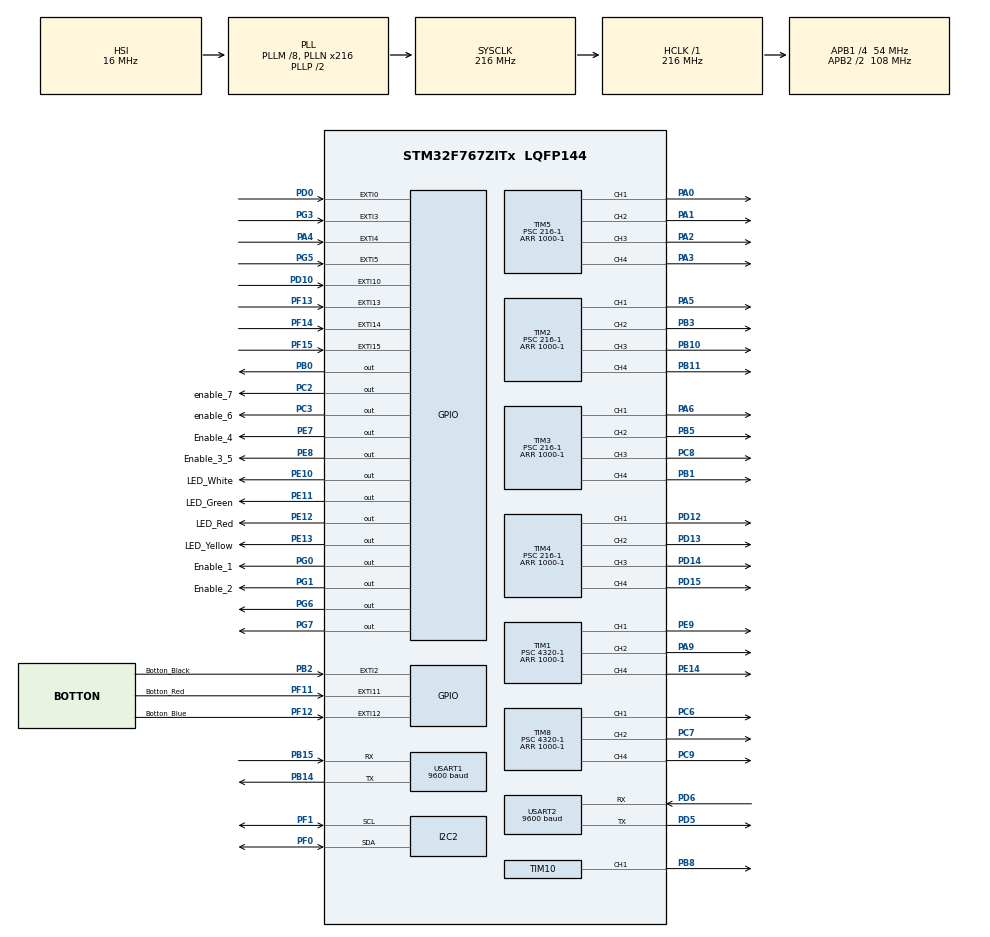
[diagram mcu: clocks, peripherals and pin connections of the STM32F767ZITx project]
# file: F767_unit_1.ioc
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Dma.Request0=USART1_RX
Dma.Request1=USART2_RX
Dma.USART1_RX.0.Direction=DMA_PERIPH_TO_MEMORY
Dma.USART1_RX.0.FIFOMode=DMA_FIFOMODE_DISABLE
Dma.USART1_RX.0.Instance=DMA2_Stream2
Dma.USART1_RX.0.MemDataAlignment=DMA_MDATAALIGN_BYTE
Dma.USART1_RX.0.MemInc=DMA_MINC_ENABLE
Dma.USART1_RX.0.Mode=DMA_CIRCULAR
Dma.USART1_RX.0.PeriphDataAlignment=DMA_PDATAALIGN_BYTE
Dma.USART1_RX.0.PeriphInc=DMA_PINC_DISABLE
Dma.USART1_RX.0.Priority=DMA_PRIORITY_HIGH
Dma.USART2_RX.1.Direction=DMA_PERIPH_TO_MEMORY
Dma.USART2_RX.1.FIFOMode=DMA_FIFOMODE_DISABLE
Dma.USART2_RX.1.Instance=DMA1_Stream5
Dma.USART2_RX.1.MemDataAlignment=DMA_MDATAALIGN_BYTE
Dma.USART2_RX.1.MemInc=DMA_MINC_ENABLE
Dma.USART2_RX.1.Mode=DMA_CIRCULAR
Dma.USART2_RX.1.PeriphDataAlignment=DMA_PDATAALIGN_BYTE
Dma.USART2_RX.1.PeriphInc=DMA_PINC_DISABLE
Dma.USART2_RX.1.Priority=DMA_PRIORITY_VERY_HIGH
I2C2.Timing=0x20404768
Mcu.Family=STM32F7
Mcu.Name=STM32F767ZITx
Mcu.Package=LQFP144
NVIC.DMA1_Stream5_IRQn=true\:0\:0\:false\:false\:true\:false\:true
NVIC.DMA2_Stream2_IRQn=true\:0\:0\:false\:false\:true\:false\:true
NVIC.EXTI0_IRQn=true\:0\:0\:false\:false\:true\:true\:true
NVIC.EXTI15_10_IRQn=true\:0\:0\:false\:false\:true\:true\:true
NVIC.EXTI2_IRQn=true\:0\:0\:false\:false\:true\:true\:true
NVIC.EXTI3_IRQn=true\:0\:0\:false\:false\:true\:true\:true
NVIC.EXTI4_IRQn=true\:0\:0\:false\:false\:true\:true\:true
NVIC.EXTI9_5_IRQn=true\:0\:0\:false\:false\:true\:true\:true
NVIC.PriorityGroup=NVIC_PRIORITYGROUP_4
NVIC.TIM6_DAC_IRQn=true\:0\:0\:true\:false\:true\:true\:true
NVIC.USART1_IRQn=true\:0\:0\:false\:false\:true\:true\:true
NVIC.USART2_IRQn=true\:0\:0\:false\:false\:true\:true\:true
PA0/WKUP.Signal=S_TIM5_CH1
PA1.Signal=S_TIM5_CH2
PA2.Signal=S_TIM5_CH3
PA3.Signal=S_TIM5_CH4
PA4.GPIO_ModeDefaultEXTI=GPIO_MODE_IT_RISING_FALLING
PA4.Signal=GPXTI4
PA5.Signal=S_TIM2_CH1_ETR
PA6.Signal=S_TIM3_CH1
PA9.Signal=S_TIM1_CH2
PB0.Signal=GPIO_Output
PB1.Signal=S_TIM3_CH4
PB10.Signal=S_TIM2_CH3
PB11.Signal=S_TIM2_CH4
PB14.Mode=Asynchronous
PB14.Signal=USART1_TX
PB15.Mode=Asynchronous
PB15.Signal=USART1_RX
PB2.GPIO_Label=Botton_Black
PB2.GPIO_ModeDefaultEXTI=GPIO_MODE_IT_RISING_FALLING
PB2.Signal=GPXTI2
PB3.Signal=S_TIM2_CH2
PB5.Signal=S_TIM3_CH2
PB8.Signal=S_TIM10_CH1
PC2.GPIO_Label=enable_7
PC2.Signal=GPIO_Output
PC3.GPIO_Label=enable_6
PC3.Signal=GPIO_Output
PC6.Signal=S_TIM8_CH1
PC7.Signal=S_TIM8_CH2
PC8.Signal=S_TIM3_CH3
PC9.Signal=S_TIM8_CH4
PD0.GPIO_ModeDefaultEXTI=GPIO_MODE_IT_RISING_FALLING
PD0.Signal=GPXTI0
PD10.GPIO_ModeDefaultEXTI=GPIO_MODE_IT_RISING_FALLING
PD10.Signal=GPXTI10
PD12.Signal=S_TIM4_CH1
PD13.Signal=S_TIM4_CH2
PD14.Signal=S_TIM4_CH3
PD15.Signal=S_TIM4_CH4
PD5.Mode=Asynchronous
PD5.Signal=USART2_TX
PD6.Mode=Asynchronous
PD6.Signal=USART2_RX
PE10.GPIO_Label=LED_White
PE10.Signal=GPIO_Output
PE11.GPIO_Label=LED_Green
PE11.Signal=GPIO_Output
PE12.GPIO_Label=LED_Red
PE12.Signal=GPIO_Output
PE13.GPIO_Label=LED_Yellow
PE13.Signal=GPIO_Output
PE14.Signal=S_TIM1_CH4
PE7.GPIO_Label=Enable_4
PE7.Signal=GPIO_Output
PE8.GPIO_Label=Enable_3_5
PE8.Signal=GPIO_Output
PE9.Signal=S_TIM1_CH1
PF0.Mode=I2C
PF0.Signal=I2C2_SDA
PF1.Mode=I2C
PF1.Signal=I2C2_SCL
PF11.GPIO_Label=Botton_Red
PF11.GPIO_ModeDefaultEXTI=GPIO_MODE_IT_RISING_FALLING
PF11.Signal=GPXTI11
PF12.GPIO_Label=Botton_Blue
PF12.GPIO_ModeDefaultEXTI=GPIO_MODE_IT_RISING_FALLING
PF12.Signal=GPXTI12
PF13.GPIO_ModeDefaultEXTI=GPIO_MODE_IT_RISING_FALLING
PF13.Signal=GPXTI13
PF14.GPIO_ModeDefaultEXTI=GPIO_MODE_IT_RISING_FALLING
PF14.Signal=GPXTI14
PF15.GPIO_ModeDefaultEXTI=GPIO_MODE_IT_RISING_FALLING
PF15.Signal=GPXTI15
PG0.GPIO_Label=Enable_1
PG0.Signal=GPIO_Output
PG1.GPIO_Label=Enable_2
PG1.Signal=GPIO_Output
PG3.GPIO_ModeDefaultEXTI=GPIO_MODE_IT_RISING_FALLING
PG3.Signal=GPXTI3
PG5.GPIO_ModeDefaultEXTI=GPIO_MODE_IT_RISING_FALLING
PG5.Signal=GPXTI5
PG6.Signal=GPIO_Output
PG7.Signal=GPIO_Output
ProjectManager.HeapSize=0x200
ProjectManager.StackSize=0x400
ProjectManager.TargetToolchain=STM32CubeIDE
RCC.AHBFreq_Value=216000000
RCC.APB1CLKDivider=RCC_HCLK_DIV4
RCC.APB1Freq_Value=54000000
RCC.APB1TimFreq_Value=108000000
RCC.APB2CLKDivider=RCC_HCLK_DIV2
RCC.APB2Freq_Value=108000000
RCC.APB2TimFreq_Value=216000000
RCC.CortexFreq_Value=216000000
RCC.HCLKFreq_Value=216000000
RCC.HSE_VALUE=25000000
RCC.HSI_VALUE=16000000
RCC.LSE_VALUE=32768
RCC.PLLM=8
RCC.PLLN=216
RCC.SYSCLKFreq_VALUE=216000000
RCC.SYSCLKSource=RCC_SYSCLKSOURCE_PLLCLK
RCC.USBFreq_Value=216000000
RCC.VCOOutputFreq_Value=432000000
SH.S_TIM10_CH1.0=TIM10_CH1,PWM Generation1 CH1
SH.S_TIM1_CH1.0=TIM1_CH1,PWM Generation1 CH1
SH.S_TIM1_CH2.0=TIM1_CH2,PWM Generation2 CH2
SH.S_TIM1_CH4.0=TIM1_CH4,PWM Generation4 CH4
SH.S_TIM2_CH1_ETR.0=TIM2_CH1,PWM Generation1 CH1
SH.S_TIM2_CH2.0=TIM2_CH2,PWM Generation2 CH2
SH.S_TIM2_CH3.0=TIM2_CH3,PWM Generation3 CH3
SH.S_TIM2_CH4.0=TIM2_CH4,PWM Generation4 CH4
SH.S_TIM3_CH1.0=TIM3_CH1,PWM Generation1 CH1
SH.S_TIM3_CH2.0=TIM3_CH2,PWM Generation2 CH2
SH.S_TIM3_CH3.0=TIM3_CH3,PWM Generation3 CH3
SH.S_TIM3_CH4.0=TIM3_CH4,PWM Generation4 CH4
SH.S_TIM4_CH1.0=TIM4_CH1,PWM Generation1 CH1
SH.S_TIM4_CH2.0=TIM4_CH2,PWM Generation2 CH2
SH.S_TIM4_CH3.0=TIM4_CH3,PWM Generation3 CH3
SH.S_TIM4_CH4.0=TIM4_CH4,PWM Generation4 CH4
SH.S_TIM5_CH1.0=TIM5_CH1,PWM Generation1 CH1
SH.S_TIM5_CH2.0=TIM5_CH2,PWM Generation2 CH2
SH.S_TIM5_CH3.0=TIM5_CH3,PWM Generation3 CH3
SH.S_TIM5_CH4.0=TIM5_CH4,PWM Generation4 CH4
SH.S_TIM8_CH1.0=TIM8_CH1,PWM Generation1 CH1
SH.S_TIM8_CH2.0=TIM8_CH2,PWM Generation2 CH2
SH.S_TIM8_CH4.0=TIM8_CH4,PWM Generation4 CH4
TIM1.Channel-PWM\ Generation1\ CH1=TIM_CHANNEL_1
TIM1.Channel-PWM\ Generation2\ CH2=TIM_CHANNEL_2
TIM1.Channel-PWM\ Generation4\ CH4=TIM_CHANNEL_4
TIM1.Period=1000-1
TIM1.Prescaler=4320-1
TIM10.Channel=TIM_CHANNEL_1
TIM10.Period=1000-1
TIM10.Prescaler=4320-1
TIM2.Channel-PWM\ Generation1\ CH1=TIM_CHANNEL_1
TIM2.Channel-PWM\ Generation2\ CH2=TIM_CHANNEL_2
TIM2.Channel-PWM\ Generation3\ CH3=TIM_CHANNEL_3
TIM2.Channel-PWM\ Generation4\ CH4=TIM_CHANNEL_4
TIM2.Period=1000-1
TIM2.Prescaler=216-1
TIM3.Channel-PWM\ Generation1\ CH1=TIM_CHANNEL_1
TIM3.Channel-PWM\ Generation2\ CH2=TIM_CHANNEL_2
TIM3.Channel-PWM\ Generation3\ CH3=TIM_CHANNEL_3
TIM3.Channel-PWM\ Generation4\ CH4=TIM_CHANNEL_4
TIM3.Period=1000-1
TIM3.Prescaler=216-1
TIM4.Channel-PWM\ Generation1\ CH1=TIM_CHANNEL_1
TIM4.Channel-PWM\ Generation2\ CH2=TIM_CHANNEL_2
TIM4.Channel-PWM\ Generation3\ CH3=TIM_CHANNEL_3
TIM4.Channel-PWM\ Generation4\ CH4=TIM_CHANNEL_4
TIM4.Period=1000-1
TIM4.Prescaler=216-1
TIM5.Channel-PWM\ Generation1\ CH1=TIM_CHANNEL_1
TIM5.Channel-PWM\ Generation2\ CH2=TIM_CHANNEL_2
TIM5.Channel-PWM\ Generation3\ CH3=TIM_CHANNEL_3
TIM5.Channel-PWM\ Generation4\ CH4=TIM_CHANNEL_4
TIM5.Period=1000-1
TIM5.Prescaler=216-1
TIM6.Period=50000-1
TIM6.Prescaler=10800-1
TIM8.Channel-PWM\ Generation1\ CH1=TIM_CHANNEL_1
TIM8.Channel-PWM\ Generation2\ CH2=TIM_CHANNEL_2
TIM8.Channel-PWM\ Generation4\ CH4=TIM_CHANNEL_4
TIM8.Period=1000-1
TIM8.Prescaler=4320-1
TIM9.Period=1000-1
TIM9.Prescaler=216-1
USART1.BaudRate=9600
USART1.VirtualMode-Asynchronous=VM_ASYNC
USART2.BaudRate=9600
USART2.OverSampling=UART_OVERSAMPLING_16
USART2.RxPinLevelInvertParam=ADVFEATURE_RXINV_ENABLE
USART2.TxPinLevelInvertParam=ADVFEATURE_TXINV_DISABLE
USART2.VirtualMode-Asynchronous=VM_ASYNC
VP_TIM10_VS_ClockSourceINT.Mode=Enable_Timer
VP_TIM1_VS_ClockSourceINT.Mode=Internal
VP_TIM2_VS_ClockSourceINT.Mode=Internal
VP_TIM3_VS_ClockSourceINT.Mode=Internal
VP_TIM4_VS_ClockSourceINT.Mode=Internal
VP_TIM5_VS_ClockSourceINT.Mode=Internal
VP_TIM6_VS_ClockSourceINT.Mode=Enable_Timer
VP_TIM8_VS_ClockSourceINT.Mode=Internal
VP_TIM9_VS_ClockSourceINT.Mode=Internal
board=custom

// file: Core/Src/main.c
/* USER CODE BEGIN Header */
/**
  ******************************************************************************
  * @file           : main.c
  * @brief          : Main program body
  ******************************************************************************
  * @attention
  *
  * <h2><center>&copy; Copyright (c) 2024 STMicroelectronics.
  * All rights reserved.</center></h2>
  *
  * This software component is licensed by ST under BSD 3-Clause license,
  * the "License"; You may not use this file except in compliance with the
  * License. You may obtain a copy of the License at:
  *                        opensource.org/licenses/BSD-3-Clause
  *
  ******************************************************************************
  */
/* USER CODE END Header */

#include "main.h"

/* USER CODE BEGIN Includes */
#include "SO1602A.h"
#include "stdbool.h"
#include "stdlib.h"
#include "stdio.h"
#include "mecanum.h"
#include "JY901.h"
/* USER CODE END Includes */

I2C_HandleTypeDef hi2c2;

TIM_HandleTypeDef htim1;
TIM_HandleTypeDef htim2;
TIM_HandleTypeDef htim3;
TIM_HandleTypeDef htim4;
TIM_HandleTypeDef htim5;
TIM_HandleTypeDef htim6;
TIM_HandleTypeDef htim8;
TIM_HandleTypeDef htim9;
TIM_HandleTypeDef htim10;

UART_HandleTypeDef huart1;
UART_HandleTypeDef huart2;
DMA_HandleTypeDef hdma_usart1_rx;
DMA_HandleTypeDef hdma_usart2_rx;

void SystemClock_Config(void);
static void MX_GPIO_Init(void);
static void MX_DMA_Init(void);
static void MX_I2C2_Init(void);
static void MX_TIM1_Init(void);
static void MX_TIM3_Init(void);
static void MX_TIM4_Init(void);
static void MX_TIM5_Init(void);
static void MX_TIM9_Init(void);
static void MX_TIM10_Init(void);
static void MX_USART1_UART_Init(void);
static void MX_TIM8_Init(void);
static void MX_USART2_UART_Init(void);
static void MX_TIM2_Init(void);
static void MX_TIM6_Init(void);

/* USER CODE BEGIN 0 */
bool status_1;
bool status_2;
bool status_3;
bool SW_1 = 0;
bool SW_2 = 0;
bool SW_3 = 0;
bool SW_4 = 0;
bool LS_1 = 0;
bool LS_2 = 0;
bool LS_3 = 0;
bool RST  = 0;

char str[10];
char str_1[6];
char str_2[2];
char str_3[2];
char str_4[2];
char str_5[2];
char str_6[2];
char str_7[2];

uint16_t speed = 400;
uint16_t test_speed = 0;
uint8_t B_dash = 1;
#define servo1_init 90
#define servo2_init 90
#define servo3_init 183
#define servo4_init 135
#define servo5_init 170			//camera arm undai
#define servo6_init 200			//camera arm sentan

uint16_t servo1_kakudo = servo1_init * 4;
uint16_t servo2_kakudo = servo2_init * 4;
uint16_t servo3_kakudo = servo3_init * 4;
uint16_t servo4_kakudo = servo4_init * 4;
uint16_t servo5_kakudo = servo5_init * 4;
uint16_t servo6_kakudo = servo6_init * 4;

#define Servo_low 25			// ds3218			0.5ms - 2.5ms  0.5 * 50[Hz]
#define Servo_high 125			//2.5 * 50[Hz]
#define servo_low 28			// futaba rs304 md
#define servo_high 124

int houi,houi_def;
#define houi_low	100			//syuturyoku hosei 0 ~ 100
#define houi_high	200
uint16_t seigyoR = 0;
uint16_t seigyoL = 0;
uint16_t houi_rot = 0;

void HAL_GPIO_EXTI_Callback(uint16_t GPIO_Pin){
	if(GPIO_Pin == GPIO_PIN_13){
		if(HAL_GPIO_ReadPin(GPIOF,GPIO_PIN_13) == 0){			//toggle left
			status_1 = 1;
		}else {
			status_1 = 0;
		}
	}else if(GPIO_Pin == GPIO_PIN_14){
		if(HAL_GPIO_ReadPin(GPIOF,GPIO_PIN_14) == 0){			//toggle center
			status_2 = 1;
		}else{
			status_2 = 0;
		}
	}else if(GPIO_Pin == GPIO_PIN_15){
		if(HAL_GPIO_ReadPin(GPIOF,GPIO_PIN_15) == 0){			//toggle right
			status_3 = 1;
		}else {
			status_3 = 0;
		}
	}else if(GPIO_Pin == GPIO_PIN_2){
		if(HAL_GPIO_ReadPin(GPIOB,GPIO_PIN_2) == 0){			//botton sita
			SW_2 = 0;
		}else {
			SW_2 = 1;
		}
	}else if(GPIO_Pin == GPIO_PIN_4){
		if(HAL_GPIO_ReadPin(GPIOA,GPIO_PIN_4) == 0){			//botton hidari
			SW_3 = 0;
		}else {
			SW_3 = 1;
		}
	}else if(GPIO_Pin == GPIO_PIN_11){
		if(HAL_GPIO_ReadPin(GPIOF,GPIO_PIN_11) == 0){			//botton ue
			SW_1 = 0;
		}else {
			SW_1 = 1;
		}
	}else if(GPIO_Pin == GPIO_PIN_12){
		if(HAL_GPIO_ReadPin(GPIOF,GPIO_PIN_12) == 0){			//botton migi
			SW_4 = 0;
		}else {
			SW_4 = 1;
		}
	}else if(GPIO_Pin == GPIO_PIN_3){
		if(HAL_GPIO_ReadPin(GPIOG,GPIO_PIN_3) == 0){
			LS_1 = 0;
		}else {
			LS_1 = 1;
		}
	}else if(GPIO_Pin == GPIO_PIN_5){
		if(HAL_GPIO_ReadPin(GPIOG,GPIO_PIN_5) == 0){
			LS_2 = 0;
		}else {
			LS_2 = 1;
		}
	}else if(GPIO_Pin == GPIO_PIN_10){
		if(HAL_GPIO_ReadPin(GPIOD,GPIO_PIN_10) == 0){
			LS_3 = 0;
		}else {
			LS_3 = 1;
		}
	}else if(GPIO_Pin == GPIO_PIN_0){
		if(HAL_GPIO_ReadPin(GPIOD,GPIO_PIN_0) == 0){
			RST = 0;
		}else {
			RST = 1;
		}
	}
}

void motor_5(uint16_t ina , uint16_t inb){
	__HAL_TIM_SET_COMPARE(&htim5,TIM_CHANNEL_1,ina);
	__HAL_TIM_SET_COMPARE(&htim5,TIM_CHANNEL_2,inb);
}
void motor_6(uint16_t ina , uint16_t inb){
	__HAL_TIM_SET_COMPARE(&htim5,TIM_CHANNEL_3,ina);
	__HAL_TIM_SET_COMPARE(&htim5,TIM_CHANNEL_4,inb);
}
void motor_7(uint16_t ina , uint16_t inb){
	__HAL_TIM_SET_COMPARE(&htim9,TIM_CHANNEL_1,ina);
	__HAL_TIM_SET_COMPARE(&htim9,TIM_CHANNEL_2,inb);
}

void motor_sol(uint16_t ina , uint16_t inb){
	__HAL_TIM_SET_COMPARE(&htim2,TIM_CHANNEL_1,ina);
	__HAL_TIM_SET_COMPARE(&htim2,TIM_CHANNEL_2,inb);
}
void motor_air(uint16_t ina , uint16_t inb){
	__HAL_TIM_SET_COMPARE(&htim2,TIM_CHANNEL_3,ina);
	__HAL_TIM_SET_COMPARE(&htim2,TIM_CHANNEL_4,inb);
}

long map(float x , float in_min , float in_max , float out_min , float out_max)
{
	  return (x - in_min) * (out_max - out_min) / (in_max - in_min) + out_min;
}

void servo_1(uint16_t pulse){			//arm kaiten
	int pulse_1 = map(pulse , 0 , 180 , Servo_low , Servo_high);
	__HAL_TIM_SET_COMPARE(&htim8,TIM_CHANNEL_1,pulse_1);
}
void servo_2(uint16_t pulse){			//right arm
	int pulse_1 = map(pulse , 0 , 270 , Servo_low , Servo_high);
	__HAL_TIM_SET_COMPARE(&htim8,TIM_CHANNEL_2,pulse_1);
}
void servo_3(uint16_t pulse){			//left arm
	int pulse_1 = map(pulse , 0 , 270 , Servo_low , Servo_high);
	__HAL_TIM_SET_COMPARE(&htim8,TIM_CHANNEL_4,pulse_1);
}
void servo_4(uint16_t pulse){			//camera arm sayu
	int pulse_1 = map(pulse , 0 , 270 , servo_low , servo_high);
	__HAL_TIM_SET_COMPARE(&htim10,TIM_CHANNEL_1,pulse_1);
}
void servo_5(uint16_t pulse){			//camera arm jouge
	int pulse_1 = map(pulse , 0 , 270 , servo_low , servo_high);
	__HAL_TIM_SET_COMPARE(&htim1,TIM_CHANNEL_2,pulse_1);
}
void servo_6(uint16_t pulse){			//camera arm on camera
	int pulse_1 = map(pulse , 0 , 270 , servo_low , servo_high);
	__HAL_TIM_SET_COMPARE(&htim1,TIM_CHANNEL_4,pulse_1);
}

void servo_init(){
	servo_1(servo1_init);
	servo_2(servo2_init);
	servo_3(servo3_init);
	servo_4(servo4_init);
	servo_5(servo5_init);
	servo_6(servo6_init);
}

/* USER CODE END 0 */

int main(void)
{

  /* MCU Configuration--------------------------------------------------------*/

  /* Reset of all peripherals, Initializes the Flash interface and the Systick. */
  HAL_Init();

  /* Configure the system clock */
  SystemClock_Config();

  /* Initialize all configured peripherals */
  MX_GPIO_Init();
  MX_DMA_Init();
  MX_I2C2_Init();
  MX_TIM1_Init();
  MX_TIM3_Init();
  MX_TIM4_Init();
  MX_TIM5_Init();
  MX_TIM9_Init();
  MX_TIM10_Init();
  MX_USART1_UART_Init();
  MX_TIM8_Init();
  MX_USART2_UART_Init();
  MX_TIM2_Init();
  MX_TIM6_Init();
  /* USER CODE BEGIN 2 */

  //HAL_UART_Receive_DMA(&huart1,(uint8_t *)rxbuf ,1);			//raspi uart

  HAL_UART_Receive_DMA(&huart2,(uint8_t *)rxbuf ,1);			//TPIP uart

  //HAL_TIM_PWM_Start(&htim1,TIM_CHANNEL_1);
  HAL_TIM_PWM_Start(&htim3,TIM_CHANNEL_1);		//dc leg
  HAL_TIM_PWM_Start(&htim3,TIM_CHANNEL_2);
  HAL_TIM_PWM_Start(&htim3,TIM_CHANNEL_3);
  HAL_TIM_PWM_Start(&htim3,TIM_CHANNEL_4);
  HAL_TIM_PWM_Start(&htim4,TIM_CHANNEL_1);
  HAL_TIM_PWM_Start(&htim4,TIM_CHANNEL_2);
  HAL_TIM_PWM_Start(&htim4,TIM_CHANNEL_3);
  HAL_TIM_PWM_Start(&htim4,TIM_CHANNEL_4);
  HAL_TIM_PWM_Start(&htim5,TIM_CHANNEL_1);		//dc arm
  HAL_TIM_PWM_Start(&htim5,TIM_CHANNEL_2);
  HAL_TIM_PWM_Start(&htim5,TIM_CHANNEL_3);
  HAL_TIM_PWM_Start(&htim5,TIM_CHANNEL_4);
  HAL_TIM_PWM_Start(&htim2,TIM_CHANNEL_1);		//dc leg
  HAL_TIM_PWM_Start(&htim2,TIM_CHANNEL_2);
  HAL_TIM_PWM_Start(&htim2,TIM_CHANNEL_3);
  HAL_TIM_PWM_Start(&htim2,TIM_CHANNEL_4);

  HAL_TIM_PWM_Start(&htim8,TIM_CHANNEL_1);		//servo
  HAL_TIM_PWM_Start(&htim8,TIM_CHANNEL_2);
  HAL_TIM_PWM_Start(&htim8,TIM_CHANNEL_4);
  HAL_TIM_PWM_Start(&htim10,TIM_CHANNEL_1);
  HAL_TIM_PWM_Start(&htim1,TIM_CHANNEL_1);
  HAL_TIM_PWM_Start(&htim1,TIM_CHANNEL_2);
  HAL_TIM_PWM_Start(&htim1,TIM_CHANNEL_4);

  HAL_TIM_Base_Start_IT(&htim6);

  oled_Init(&hi2c2);
  OLED_Init();
  set_cursor(1,0);
  Puts("status:");
  set_cursor(2,0);
  Puts("waiting TPIP");

  HAL_GPIO_WritePin(GPIOG,GPIO_PIN_0,SET);
  HAL_GPIO_WritePin(GPIOG,GPIO_PIN_1,SET);
  HAL_GPIO_WritePin(GPIOE,GPIO_PIN_7,SET);
  HAL_GPIO_WritePin(GPIOE,GPIO_PIN_8,SET);
  HAL_GPIO_WritePin(GPIOC,GPIO_PIN_2,SET);
  HAL_GPIO_WritePin(GPIOC,GPIO_PIN_3,SET);

  JY901_init(&hi2c2);
  JY901_calibration(3000,1);
  houi_def = JY901_def_set();		//set up

  servo_init();
  /*
  while(RST != 1 && SW_1 != 1){
	  RST 	= HAL_GPIO_ReadPin(GPIOD,GPIO_PIN_0);
	  SW_1 	= HAL_GPIO_ReadPin(GPIOF,GPIO_PIN_11);
	  HAL_Delay(10);
  }
  */

  /* USER CODE END 2 */

  /* Infinite loop */
  /* USER CODE BEGIN WHILE */
  while (1)
  {
	  sprintf(str_3,"%d",LS_1);
	  sprintf(str_2,"%d",LS_2);
	  sprintf(str_7,"%d",LS_3);
	  houi = JY901_yaw_get(houi_def);

	  sprintf(str_1,"%d",houi);
	  sprintf(str_4,"%d",seigyoR);
	  sprintf(str_5,"%d",seigyoL);

	  if((houi - houi_rot) > 5){			//sisei seigyo
		  seigyoR = map(houi , 5 , 180 , houi_low , houi_high);
		  seigyoL = 0;
	  }else if((houi - houi_rot) < -5 ){
		  seigyoR = 0;
		  seigyoL = map(houi , 355 , 180 , houi_low , houi_high);
	  }else if((houi - houi_rot) < 5 || -5 < (houi - houi_rot)){
		  seigyoR = 0;
		  seigyoL = 0;
	  }

	  if(status_1 == 1 || RST == 1){
		  //number = atoi(&rxbuf[1]);			//convert strings to number

		  OLED_Init();
		  set_cursor(1,0);
		  Puts("status:uart mode");
		  set_cursor(2,0);
		  Puts(&rxbuf[0]);
		  set_cursor(2,10);
		  Puts(str_2);			//limit switch1 debug
		  set_cursor(2,12);
		  Puts(str_3);			//limit switch2 debug
		  set_cursor(2,14);
		  Puts(str_7);			//limit switch3 debug

		  if(rxbuf[0] < 95){	//B_dash setting
			  B_dash = 2;
		  }else{
			  B_dash = 1;
		  }
/*
		  if(RST == 0){
			  HAL_NVIC_SystemReset();		//stm32 reset when communication cut off
		  }
*/

		  if(rxbuf[0] == 'k'){
			  mecanum(0,0,0,0);
			  motor_5(0,0);
			  motor_6(0,0);
			  motor_7(0,0);

		  }else if(rxbuf[0] == 'c' || rxbuf[0] == 'C'){
			  mecanum(1,speed * B_dash,seigyoR,seigyoL);		//forward

		  }else if(rxbuf[0] == 'g' || rxbuf[0] == 'G'){
			  mecanum(2,speed * B_dash,seigyoR,seigyoL);		//back

		  }else if(rxbuf[0] == 'i' ){
			  mecanum(9,speed * B_dash,0,0);			//turn right
			  houi = JY901_yaw_get(houi_def);
			  houi_rot = houi + 10;

		  }else if(rxbuf[0] == 'j' ){
			  mecanum(10,speed * B_dash,0,0);			//turn left
			  houi = JY901_yaw_get(houi_def);
			  houi_rot = houi - 10;

		  }else if(rxbuf[0] == 'a' || rxbuf[0] == 'A'){
			  mecanum(3,speed * B_dash,0,0);		//shift to the right

		  }else if(rxbuf[0] == 'e' || rxbuf[0] == 'E'){
			  mecanum(4,speed * B_dash,0,0);		//shift to the left

		  }else if(rxbuf[0] == 'b' || rxbuf[0] == 'B'){
			  mecanum(5,speed * B_dash,0,0);		//go diagonally to the right

		  }else if(rxbuf[0] == 'f' || rxbuf[0] == 'F'){
			  mecanum(8,speed * B_dash,0,0);		//go diagonally backward to the left

		  }else if(rxbuf[0] == 'd' || rxbuf[0] == 'D'){
			  mecanum(6,speed * B_dash,0,0);		//go diagonally to the left

		  }else if(rxbuf[0] == 'h' || rxbuf[0] == 'H'){
			  mecanum(7,speed * B_dash,0,0);			// go diagonally backward to the right

		  }else if(rxbuf[0] == 'm'){
			  motor_5(800,0);		// arm dasu
		  }else if(rxbuf[0] == 'l'){
			  motor_5(0,500);		//arm simau

			  if(LS_1 == 1){
				  motor_5(0,0);		//arm stop by limit switch
			  }
		  }else if(rxbuf[0] == 'n'){
			  motor_6(500,0);		// arm down

			  if(LS_3){
				  motor_6(0,0);
			  }

		  }else if(rxbuf[0] == 'o'){
			  motor_6(0,500);		//arm up

			  if(LS_2 == 1){
				  motor_6(0,0);		//arm stop by limit switch
			  }
		  }else if(rxbuf[0] == 'p'){
			  for(;servo2_kakudo < 360 ; servo2_kakudo++){
			  	  servo_2(servo2_kakudo / 4);
			  	  HAL_Delay(5);
			  	  if(rxbuf[0] == 'k'){
			  		  break;
			  	  }
			  }
		  }else if(rxbuf[0] == 'q'){
			  for(;servo2_kakudo > 0 ; servo2_kakudo--){
				  servo_2(servo2_kakudo / 4);
				  HAL_Delay(5);
				  if(rxbuf[0] == 'k'){
					  break;
				  }
			  }
		  }else if(rxbuf[0] == 'r'){
			  for(;servo3_kakudo < 1080 ; servo3_kakudo++){
				  servo_3(servo3_kakudo/4);
				  HAL_Delay(5);
				  if(rxbuf[0] == 'k'){
					  break;
				  }
			  }
		  }else if(rxbuf[0] == 's'){
			  for(;servo3_kakudo > 720 ; servo3_kakudo--){
				  servo_3(servo3_kakudo / 4);
				  HAL_Delay(5);
				  if(rxbuf[0] == 'k'){
					  break;
				  }
			  }
		  }else if(rxbuf[0] == 't'){
			  for(;servo1_kakudo < 720 ; servo1_kakudo++){
				  servo_1(servo1_kakudo / 4);
				  HAL_Delay(5);
				  if(rxbuf[0] == 'k'){
					  break;
				  }
			  }
		  }else if(rxbuf[0] == 'u'){
			  for(;servo1_kakudo > 0 ; servo1_kakudo--){
				  servo_1(servo1_kakudo / 4);
				  HAL_Delay(5);
				  if(rxbuf[0] == 'k'){
					  break;
				  }
			  }
		  }else if(rxbuf[0] == 'v'){
			  servo_init();
			  servo1_kakudo = servo1_init * 4;
			  servo2_kakudo = servo2_init * 4;
			  servo3_kakudo = servo3_init * 4;

		  }else if(rxbuf[0] == 'w'){
			  for(;servo2_kakudo < 360 ; servo2_kakudo++){
				  servo_2(servo2_kakudo / 4);
				  servo_3((int)map(servo2_kakudo , 0 , 360 , 1080 , 720) / 4);
				  HAL_Delay(5);
				  if(rxbuf[0] == 'k'){
					  break;
				  }
			  }
		  }else if(rxbuf[0] == 'x'){
			  for(;servo2_kakudo > 0 ; servo2_kakudo--){
				  servo_2(servo2_kakudo / 4);
				  servo_3((int)map(servo2_kakudo , 0 , 360 , 1080 , 720) / 4);
				  HAL_Delay(5);
				  if(rxbuf[0] == 'k'){
					  break;
				  }
			  }
		  }else if(rxbuf[0] == '1'){
			  motor_sol(800,0);
		  }else if(rxbuf[0] == '2'){
			  motor_sol(0,0);
		  }else if(rxbuf[0] == '3'){
			  motor_air(800,0);
		  }else if(rxbuf[0] == '4'){
			  motor_air(0,0);
		  }else if(rxbuf[0] == 'y'){		//camera arm down
			  for(;servo5_kakudo > 0 ; servo5_kakudo--){
				  servo_5(servo5_kakudo / 4);
				  servo_6((int)map(servo5_kakudo , 0 , 680 , 180 , 800) / 4);
				  HAL_Delay(5);
				  if(rxbuf[0] == 'k'){
					  break;
				  }
			  }
		  }else if(rxbuf[0] == 'z'){		//camera arm up
			  for(;servo5_kakudo < 680 ; servo5_kakudo++){
				  servo_5(servo5_kakudo / 4);
				  servo_6((int)map(servo5_kakudo , 0 , 680 , 180 , 800) / 4);
				  HAL_Delay(5);
				  if(rxbuf[0] == 'k'){
					  break;
				  }
			  }
		  }else if(rxbuf[0] == 'L'){		//camera arm up
			  for(;servo6_kakudo > 180 ; servo6_kakudo--){
				  servo_6(servo6_kakudo / 4);
				  HAL_Delay(5);
				  if(rxbuf[0] == 'k'){
					  break;
				  }
			  }
		  }else if(rxbuf[0] == 'M'){		//camera arm up
			  for(;servo6_kakudo < 800 ; servo6_kakudo++){
				  servo_6(servo6_kakudo / 4);
				  HAL_Delay(5);
				  if(rxbuf[0] == 'k'){
					  break;
				  }
			  }
		  }
	  }else if(status_2 == 1){
		  sprintf(str,"%d",test_speed);

		  OLED_Init();
		  set_cursor(1,0);
		  Puts("setting speed");
		  set_cursor(2,0);
		  Puts("speed = ");
		  set_cursor(2,10);
		  Puts(str);
		  HAL_GPIO_WritePin(GPIOE,GPIO_PIN_11,SET);

		  if(SW_1 == 1){
			  test_speed += 50;
		  }else if(SW_2 == 1){
			  test_speed -= 50;
		  }else if(SW_3){
			  motor_air(800,0);

		  }else if(SW_4){
			  motor_sol(800,0);
		  }else{
			  motor_air(0,0);
			  motor_sol(0,0);
		  }

	  }else if(status_3 == 1){

		  sprintf(str_6,"%d",houi_rot);
		  OLED_Init();
		  set_cursor(1,0);
		  Puts("status:arm_test");
		  set_cursor(2,0);
		  Puts("yaw:");
		  set_cursor(2,7);
		  Puts(str_1);				//yaw
		  set_cursor(2,11);
		  Puts(str_6);				//yaw_rotation
		  //HAL_GPIO_WritePin(GPIOE,GPIO_PIN_12,SET);

		  if(SW_1 == 1){
			  motor_6(test_speed , 0);
		  }else if(SW_2 == 1){
			  motor_6(0 , test_speed);
		  }else if(SW_3 == 1){
			  motor_5(test_speed , 0);
		  }else if(SW_4 == 1){
			  motor_5(0 , test_speed);
		  }

	  }else if(SW_1){
		  OLED_Init();
		  set_cursor(1,0);
		  Puts("test mode");
		  set_cursor(2,0);			//seigyoL debug
		  Puts(str_5);
		  set_cursor(2,4);			//seigyoR debug
		  Puts(str_4);
		  set_cursor(2,12);
		  Puts(str_1);

		  mecanum(1,test_speed,seigyoR,seigyoL);

	  }else if(SW_2){
		  OLED_Init();
		  set_cursor(1,0);
		  Puts("test mode");
		  set_cursor(2,0);			//seigyoL debug
		  Puts(str_5);
		  set_cursor(2,4);			//seigyoR debug
		  Puts(str_4);
		  set_cursor(2,12);
		  Puts(str_1);

		  mecanum(2,test_speed,seigyoR,seigyoL);

	  }else if(SW_3 == 1){
		  OLED_Init();
		  set_cursor(1,0);
		  Puts("test mode");
		  set_cursor(2,0);			//seigyoL debug
		  Puts(str_5);
		  set_cursor(2,4);			//seigyoR debug
		  Puts(str_4);
		  set_cursor(2,12);
		  Puts(str_1);

		  mecanum(9,test_speed,0,0);
		  houi = JY901_yaw_get(houi_def);
		  houi_rot = houi + 10;

	  }else if(SW_4 == 1){
		  OLED_Init();
		  set_cursor(1,0);
		  Puts("test mode");
		  set_cursor(2,0);			//seigyoL debug
		  Puts(str_5);
		  set_cursor(2,4);			//seigyoR debug
		  Puts(str_4);
		  set_cursor(2,12);
		  Puts(str_1);

		  mecanum(10,test_speed,0,0);
		  houi = JY901_yaw_get(houi_def);
		  houi_rot = houi - 10;

	  }else if(status_1 + status_2 + status_3 == 0){
		  OLED_Init();
		  set_cursor(1,0);
		  Puts("status: free ");
		  set_cursor(2,0);
		  Puts("^o^)/ waiting...");
		  HAL_GPIO_WritePin(GPIOE,GPIO_PIN_10|GPIO_PIN_11|GPIO_PIN_12,RESET);

		  mecanum(0,0,0,0);
		  motor_5(0,0);
		  motor_6(0,0);
		  motor_7(0,0);
		  motor_air(0,0);
		  motor_sol(0,0);

	  }

	  HAL_Delay(5);

    /* USER CODE END WHILE */

  }
}

void SystemClock_Config(void)
{
  RCC_OscInitTypeDef RCC_OscInitStruct = {0};
  RCC_ClkInitTypeDef RCC_ClkInitStruct = {0};
  RCC_PeriphCLKInitTypeDef PeriphClkInitStruct = {0};

  /** Configure the main internal regulator output voltage
  */
  __HAL_RCC_PWR_CLK_ENABLE();
  __HAL_PWR_VOLTAGESCALING_CONFIG(PWR_REGULATOR_VOLTAGE_SCALE1);
  /** Initializes the CPU, AHB and APB busses clocks
  */
  RCC_OscInitStruct.OscillatorType = RCC_OSCILLATORTYPE_HSI;
  RCC_OscInitStruct.HSIState = RCC_HSI_ON;
  RCC_OscInitStruct.HSICalibrationValue = RCC_HSICALIBRATION_DEFAULT;
  RCC_OscInitStruct.PLL.PLLState = RCC_PLL_ON;
  RCC_OscInitStruct.PLL.PLLSource = RCC_PLLSOURCE_HSI;
  RCC_OscInitStruct.PLL.PLLM = 8;
  RCC_OscInitStruct.PLL.PLLN = 216;
  RCC_OscInitStruct.PLL.PLLP = RCC_PLLP_DIV2;
  RCC_OscInitStruct.PLL.PLLQ = 2;
  if (HAL_RCC_OscConfig(&RCC_OscInitStruct) != HAL_OK)
  {
    Error_Handler();
  }
  /** Activate the Over-Drive mode
  */
  if (HAL_PWREx_EnableOverDrive() != HAL_OK)
  {
    Error_Handler();
  }
  /** Initializes the CPU, AHB and APB busses clocks
  */
  RCC_ClkInitStruct.ClockType = RCC_CLOCKTYPE_HCLK|RCC_CLOCKTYPE_SYSCLK
                              |RCC_CLOCKTYPE_PCLK1|RCC_CLOCKTYPE_PCLK2;
  RCC_ClkInitStruct.SYSCLKSource = RCC_SYSCLKSOURCE_PLLCLK;
  RCC_ClkInitStruct.AHBCLKDivider = RCC_SYSCLK_DIV1;
  RCC_ClkInitStruct.APB1CLKDivider = RCC_HCLK_DIV4;
  RCC_ClkInitStruct.APB2CLKDivider = RCC_HCLK_DIV2;

  if (HAL_RCC_ClockConfig(&RCC_ClkInitStruct, FLASH_LATENCY_7) != HAL_OK)
  {
    Error_Handler();
  }
  PeriphClkInitStruct.PeriphClockSelection = RCC_PERIPHCLK_USART1|RCC_PERIPHCLK_USART2
                              |RCC_PERIPHCLK_I2C2;
  PeriphClkInitStruct.Usart1ClockSelection = RCC_USART1CLKSOURCE_PCLK2;
  PeriphClkInitStruct.Usart2ClockSelection = RCC_USART2CLKSOURCE_PCLK1;
  PeriphClkInitStruct.I2c2ClockSelection = RCC_I2C2CLKSOURCE_PCLK1;
  if (HAL_RCCEx_PeriphCLKConfig(&PeriphClkInitStruct) != HAL_OK)
  {
    Error_Handler();
  }
}

static void MX_I2C2_Init(void)
{

  hi2c2.Instance = I2C2;
  hi2c2.Init.Timing = 0x20404768;
  hi2c2.Init.OwnAddress1 = 0;
  hi2c2.Init.AddressingMode = I2C_ADDRESSINGMODE_7BIT;
  hi2c2.Init.DualAddressMode = I2C_DUALADDRESS_DISABLE;
  hi2c2.Init.OwnAddress2 = 0;
  hi2c2.Init.OwnAddress2Masks = I2C_OA2_NOMASK;
  hi2c2.Init.GeneralCallMode = I2C_GENERALCALL_DISABLE;
  hi2c2.Init.NoStretchMode = I2C_NOSTRETCH_DISABLE;
  if (HAL_I2C_Init(&hi2c2) != HAL_OK)
  {
    Error_Handler();
  }
  /** Configure Analogue filter
  */
  if (HAL_I2CEx_ConfigAnalogFilter(&hi2c2, I2C_ANALOGFILTER_ENABLE) != HAL_OK)
  {
    Error_Handler();
  }
  /** Configure Digital filter
  */
  if (HAL_I2CEx_ConfigDigitalFilter(&hi2c2, 0) != HAL_OK)
  {
    Error_Handler();
  }

}

static void MX_TIM1_Init(void)
{

  TIM_ClockConfigTypeDef sClockSourceConfig = {0};
  TIM_MasterConfigTypeDef sMasterConfig = {0};
  TIM_OC_InitTypeDef sConfigOC = {0};
  TIM_BreakDeadTimeConfigTypeDef sBreakDeadTimeConfig = {0};

  htim1.Instance = TIM1;
  htim1.Init.Prescaler = 4320-1;
  htim1.Init.CounterMode = TIM_COUNTERMODE_UP;
  htim1.Init.Period = 1000-1;
  htim1.Init.ClockDivision = TIM_CLOCKDIVISION_DIV1;
  htim1.Init.RepetitionCounter = 0;
  htim1.Init.AutoReloadPreload = TIM_AUTORELOAD_PRELOAD_DISABLE;
  if (HAL_TIM_Base_Init(&htim1) != HAL_OK)
  {
    Error_Handler();
  }
  sClockSourceConfig.ClockSource = TIM_CLOCKSOURCE_INTERNAL;
  if (HAL_TIM_ConfigClockSource(&htim1, &sClockSourceConfig) != HAL_OK)
  {
    Error_Handler();
  }
  if (HAL_TIM_PWM_Init(&htim1) != HAL_OK)
  {
    Error_Handler();
  }
  sMasterConfig.MasterOutputTrigger = TIM_TRGO_RESET;
  sMasterConfig.MasterOutputTrigger2 = TIM_TRGO2_RESET;
  sMasterConfig.MasterSlaveMode = TIM_MASTERSLAVEMODE_DISABLE;
  if (HAL_TIMEx_MasterConfigSynchronization(&htim1, &sMasterConfig) != HAL_OK)
  {
    Error_Handler();
  }
  sConfigOC.OCMode = TIM_OCMODE_PWM1;
  sConfigOC.Pulse = 0;
  sConfigOC.OCPolarity = TIM_OCPOLARITY_HIGH;
  sConfigOC.OCNPolarity = TIM_OCNPOLARITY_HIGH;
  sConfigOC.OCFastMode = TIM_OCFAST_DISABLE;
  sConfigOC.OCIdleState = TIM_OCIDLESTATE_RESET;
  sConfigOC.OCNIdleState = TIM_OCNIDLESTATE_RESET;
  if (HAL_TIM_PWM_ConfigChannel(&htim1, &sConfigOC, TIM_CHANNEL_1) != HAL_OK)
  {
    Error_Handler();
  }
  if (HAL_TIM_PWM_ConfigChannel(&htim1, &sConfigOC, TIM_CHANNEL_2) != HAL_OK)
  {
    Error_Handler();
  }
  if (HAL_TIM_PWM_ConfigChannel(&htim1, &sConfigOC, TIM_CHANNEL_4) != HAL_OK)
  {
    Error_Handler();
  }
  sBreakDeadTimeConfig.OffStateRunMode = TIM_OSSR_DISABLE;
  sBreakDeadTimeConfig.OffStateIDLEMode = TIM_OSSI_DISABLE;
  sBreakDeadTimeConfig.LockLevel = TIM_LOCKLEVEL_OFF;
  sBreakDeadTimeConfig.DeadTime = 0;
  sBreakDeadTimeConfig.BreakState = TIM_BREAK_DISABLE;
  sBreakDeadTimeConfig.BreakPolarity = TIM_BREAKPOLARITY_HIGH;
  sBreakDeadTimeConfig.BreakFilter = 0;
  sBreakDeadTimeConfig.Break2State = TIM_BREAK2_DISABLE;
  sBreakDeadTimeConfig.Break2Polarity = TIM_BREAK2POLARITY_HIGH;
  sBreakDeadTimeConfig.Break2Filter = 0;
  sBreakDeadTimeConfig.AutomaticOutput = TIM_AUTOMATICOUTPUT_DISABLE;
  if (HAL_TIMEx_ConfigBreakDeadTime(&htim1, &sBreakDeadTimeConfig) != HAL_OK)
  {
    Error_Handler();
  }
  HAL_TIM_MspPostInit(&htim1);

}

static void MX_TIM2_Init(void)
{

  TIM_ClockConfigTypeDef sClockSourceConfig = {0};
  TIM_MasterConfigTypeDef sMasterConfig = {0};
  TIM_OC_InitTypeDef sConfigOC = {0};

  htim2.Instance = TIM2;
  htim2.Init.Prescaler = 216-1;
  htim2.Init.CounterMode = TIM_COUNTERMODE_UP;
  htim2.Init.Period = 1000-1;
  htim2.Init.ClockDivision = TIM_CLOCKDIVISION_DIV1;
  htim2.Init.AutoReloadPreload = TIM_AUTORELOAD_PRELOAD_DISABLE;
  if (HAL_TIM_Base_Init(&htim2) != HAL_OK)
  {
    Error_Handler();
  }
  sClockSourceConfig.ClockSource = TIM_CLOCKSOURCE_INTERNAL;
  if (HAL_TIM_ConfigClockSource(&htim2, &sClockSourceConfig) != HAL_OK)
  {
    Error_Handler();
  }
  if (HAL_TIM_PWM_Init(&htim2) != HAL_OK)
  {
    Error_Handler();
  }
  sMasterConfig.MasterOutputTrigger = TIM_TRGO_RESET;
  sMasterConfig.MasterSlaveMode = TIM_MASTERSLAVEMODE_DISABLE;
  if (HAL_TIMEx_MasterConfigSynchronization(&htim2, &sMasterConfig) != HAL_OK)
  {
    Error_Handler();
  }
  sConfigOC.OCMode = TIM_OCMODE_PWM1;
  sConfigOC.Pulse = 0;
  sConfigOC.OCPolarity = TIM_OCPOLARITY_HIGH;
  sConfigOC.OCFastMode = TIM_OCFAST_DISABLE;
  if (HAL_TIM_PWM_ConfigChannel(&htim2, &sConfigOC, TIM_CHANNEL_1) != HAL_OK)
  {
    Error_Handler();
  }
  if (HAL_TIM_PWM_ConfigChannel(&htim2, &sConfigOC, TIM_CHANNEL_2) != HAL_OK)
  {
    Error_Handler();
  }
  if (HAL_TIM_PWM_ConfigChannel(&htim2, &sConfigOC, TIM_CHANNEL_3) != HAL_OK)
  {
    Error_Handler();
  }
  if (HAL_TIM_PWM_ConfigChannel(&htim2, &sConfigOC, TIM_CHANNEL_4) != HAL_OK)
  {
    Error_Handler();
  }
  HAL_TIM_MspPostInit(&htim2);

}

static void MX_TIM3_Init(void)
{

  TIM_ClockConfigTypeDef sClockSourceConfig = {0};
  TIM_MasterConfigTypeDef sMasterConfig = {0};
  TIM_OC_InitTypeDef sConfigOC = {0};

  htim3.Instance = TIM3;
  htim3.Init.Prescaler = 216-1;
  htim3.Init.CounterMode = TIM_COUNTERMODE_UP;
  htim3.Init.Period = 1000-1;
  htim3.Init.ClockDivision = TIM_CLOCKDIVISION_DIV1;
  htim3.Init.AutoReloadPreload = TIM_AUTORELOAD_PRELOAD_DISABLE;
  if (HAL_TIM_Base_Init(&htim3) != HAL_OK)
  {
    Error_Handler();
  }
  sClockSourceConfig.ClockSource = TIM_CLOCKSOURCE_INTERNAL;
  if (HAL_TIM_ConfigClockSource(&htim3, &sClockSourceConfig) != HAL_OK)
  {
    Error_Handler();
  }
  if (HAL_TIM_PWM_Init(&htim3) != HAL_OK)
  {
    Error_Handler();
  }
  sMasterConfig.MasterOutputTrigger = TIM_TRGO_RESET;
  sMasterConfig.MasterSlaveMode = TIM_MASTERSLAVEMODE_DISABLE;
  if (HAL_TIMEx_MasterConfigSynchronization(&htim3, &sMasterConfig) != HAL_OK)
  {
    Error_Handler();
  }
  sConfigOC.OCMode = TIM_OCMODE_PWM1;
  sConfigOC.Pulse = 0;
  sConfigOC.OCPolarity = TIM_OCPOLARITY_HIGH;
  sConfigOC.OCFastMode = TIM_OCFAST_DISABLE;
  if (HAL_TIM_PWM_ConfigChannel(&htim3, &sConfigOC, TIM_CHANNEL_1) != HAL_OK)
  {
    Error_Handler();
  }
  if (HAL_TIM_PWM_ConfigChannel(&htim3, &sConfigOC, TIM_CHANNEL_2) != HAL_OK)
  {
    Error_Handler();
  }
  if (HAL_TIM_PWM_ConfigChannel(&htim3, &sConfigOC, TIM_CHANNEL_3) != HAL_OK)
  {
    Error_Handler();
  }
  if (HAL_TIM_PWM_ConfigChannel(&htim3, &sConfigOC, TIM_CHANNEL_4) != HAL_OK)
  {
    Error_Handler();
  }
  HAL_TIM_MspPostInit(&htim3);

}

static void MX_TIM4_Init(void)
{

  TIM_ClockConfigTypeDef sClockSourceConfig = {0};
  TIM_MasterConfigTypeDef sMasterConfig = {0};
  TIM_OC_InitTypeDef sConfigOC = {0};

  htim4.Instance = TIM4;
  htim4.Init.Prescaler = 216-1;
  htim4.Init.CounterMode = TIM_COUNTERMODE_UP;
  htim4.Init.Period = 1000-1;
  htim4.Init.ClockDivision = TIM_CLOCKDIVISION_DIV1;
  htim4.Init.AutoReloadPreload = TIM_AUTORELOAD_PRELOAD_DISABLE;
  if (HAL_TIM_Base_Init(&htim4) != HAL_OK)
  {
    Error_Handler();
  }
  sClockSourceConfig.ClockSource = TIM_CLOCKSOURCE_INTERNAL;
  if (HAL_TIM_ConfigClockSource(&htim4, &sClockSourceConfig) != HAL_OK)
  {
    Error_Handler();
  }
  if (HAL_TIM_PWM_Init(&htim4) != HAL_OK)
  {
    Error_Handler();
  }
  sMasterConfig.MasterOutputTrigger = TIM_TRGO_RESET;
  sMasterConfig.MasterSlaveMode = TIM_MASTERSLAVEMODE_DISABLE;
  if (HAL_TIMEx_MasterConfigSynchronization(&htim4, &sMasterConfig) != HAL_OK)
  {
    Error_Handler();
  }
  sConfigOC.OCMode = TIM_OCMODE_PWM1;
  sConfigOC.Pulse = 0;
  sConfigOC.OCPolarity = TIM_OCPOLARITY_HIGH;
  sConfigOC.OCFastMode = TIM_OCFAST_DISABLE;
  if (HAL_TIM_PWM_ConfigChannel(&htim4, &sConfigOC, TIM_CHANNEL_1) != HAL_OK)
  {
    Error_Handler();
  }
  if (HAL_TIM_PWM_ConfigChannel(&htim4, &sConfigOC, TIM_CHANNEL_2) != HAL_OK)
  {
    Error_Handler();
  }
  if (HAL_TIM_PWM_ConfigChannel(&htim4, &sConfigOC, TIM_CHANNEL_3) != HAL_OK)
  {
    Error_Handler();
  }
  if (HAL_TIM_PWM_ConfigChannel(&htim4, &sConfigOC, TIM_CHANNEL_4) != HAL_OK)
  {
    Error_Handler();
  }
  HAL_TIM_MspPostInit(&htim4);

}

static void MX_TIM5_Init(void)
{

  TIM_ClockConfigTypeDef sClockSourceConfig = {0};
  TIM_MasterConfigTypeDef sMasterConfig = {0};
  TIM_OC_InitTypeDef sConfigOC = {0};

  htim5.Instance = TIM5;
  htim5.Init.Prescaler = 216-1;
  htim5.Init.CounterMode = TIM_COUNTERMODE_UP;
  htim5.Init.Period = 1000-1;
  htim5.Init.ClockDivision = TIM_CLOCKDIVISION_DIV1;
  htim5.Init.AutoReloadPreload = TIM_AUTORELOAD_PRELOAD_DISABLE;
  if (HAL_TIM_Base_Init(&htim5) != HAL_OK)
  {
    Error_Handler();
  }
  sClockSourceConfig.ClockSource = TIM_CLOCKSOURCE_INTERNAL;
  if (HAL_TIM_ConfigClockSource(&htim5, &sClockSourceConfig) != HAL_OK)
  {
    Error_Handler();
  }
  if (HAL_TIM_PWM_Init(&htim5) != HAL_OK)
  {
    Error_Handler();
  }
  sMasterConfig.MasterOutputTrigger = TIM_TRGO_RESET;
  sMasterConfig.MasterSlaveMode = TIM_MASTERSLAVEMODE_DISABLE;
  if (HAL_TIMEx_MasterConfigSynchronization(&htim5, &sMasterConfig) != HAL_OK)
  {
    Error_Handler();
  }
  sConfigOC.OCMode = TIM_OCMODE_PWM1;
  sConfigOC.Pulse = 0;
  sConfigOC.OCPolarity = TIM_OCPOLARITY_HIGH;
  sConfigOC.OCFastMode = TIM_OCFAST_DISABLE;
  if (HAL_TIM_PWM_ConfigChannel(&htim5, &sConfigOC, TIM_CHANNEL_1) != HAL_OK)
  {
    Error_Handler();
  }
  if (HAL_TIM_PWM_ConfigChannel(&htim5, &sConfigOC, TIM_CHANNEL_2) != HAL_OK)
  {
    Error_Handler();
  }
  if (HAL_TIM_PWM_ConfigChannel(&htim5, &sConfigOC, TIM_CHANNEL_3) != HAL_OK)
  {
    Error_Handler();
  }
  if (HAL_TIM_PWM_ConfigChannel(&htim5, &sConfigOC, TIM_CHANNEL_4) != HAL_OK)
  {
    Error_Handler();
  }
  HAL_TIM_MspPostInit(&htim5);

}

static void MX_TIM6_Init(void)
{

  TIM_MasterConfigTypeDef sMasterConfig = {0};

  htim6.Instance = TIM6;
  htim6.Init.Prescaler = 10800-1;
  htim6.Init.CounterMode = TIM_COUNTERMODE_UP;
  htim6.Init.Period = 50000-1;
  htim6.Init.AutoReloadPreload = TIM_AUTORELOAD_PRELOAD_DISABLE;
  if (HAL_TIM_Base_Init(&htim6) != HAL_OK)
  {
    Error_Handler();
  }
  sMasterConfig.MasterOutputTrigger = TIM_TRGO_RESET;
  sMasterConfig.MasterSlaveMode = TIM_MASTERSLAVEMODE_DISABLE;
  if (HAL_TIMEx_MasterConfigSynchronization(&htim6, &sMasterConfig) != HAL_OK)
  {
    Error_Handler();
  }

}

static void MX_TIM8_Init(void)
{

  TIM_ClockConfigTypeDef sClockSourceConfig = {0};
  TIM_MasterConfigTypeDef sMasterConfig = {0};
  TIM_OC_InitTypeDef sConfigOC = {0};
  TIM_BreakDeadTimeConfigTypeDef sBreakDeadTimeConfig = {0};

  htim8.Instance = TIM8;
  htim8.Init.Prescaler = 4320-1;
  htim8.Init.CounterMode = TIM_COUNTERMODE_UP;
  htim8.Init.Period = 1000-1;
  htim8.Init.ClockDivision = TIM_CLOCKDIVISION_DIV1;
  htim8.Init.RepetitionCounter = 0;
  htim8.Init.AutoReloadPreload = TIM_AUTORELOAD_PRELOAD_DISABLE;
  if (HAL_TIM_Base_Init(&htim8) != HAL_OK)
  {
    Error_Handler();
  }
  sClockSourceConfig.ClockSource = TIM_CLOCKSOURCE_INTERNAL;
  if (HAL_TIM_ConfigClockSource(&htim8, &sClockSourceConfig) != HAL_OK)
  {
    Error_Handler();
  }
  if (HAL_TIM_PWM_Init(&htim8) != HAL_OK)
  {
    Error_Handler();
  }
  sMasterConfig.MasterOutputTrigger = TIM_TRGO_RESET;
  sMasterConfig.MasterOutputTrigger2 = TIM_TRGO2_RESET;
  sMasterConfig.MasterSlaveMode = TIM_MASTERSLAVEMODE_DISABLE;
  if (HAL_TIMEx_MasterConfigSynchronization(&htim8, &sMasterConfig) != HAL_OK)
  {
    Error_Handler();
  }
  sConfigOC.OCMode = TIM_OCMODE_PWM1;
  sConfigOC.Pulse = 0;
  sConfigOC.OCPolarity = TIM_OCPOLARITY_HIGH;
  sConfigOC.OCNPolarity = TIM_OCNPOLARITY_HIGH;
  sConfigOC.OCFastMode = TIM_OCFAST_DISABLE;
  sConfigOC.OCIdleState = TIM_OCIDLESTATE_RESET;
  sConfigOC.OCNIdleState = TIM_OCNIDLESTATE_RESET;
  if (HAL_TIM_PWM_ConfigChannel(&htim8, &sConfigOC, TIM_CHANNEL_1) != HAL_OK)
  {
    Error_Handler();
  }
  if (HAL_TIM_PWM_ConfigChannel(&htim8, &sConfigOC, TIM_CHANNEL_2) != HAL_OK)
  {
    Error_Handler();
  }
  if (HAL_TIM_PWM_ConfigChannel(&htim8, &sConfigOC, TIM_CHANNEL_4) != HAL_OK)
  {
    Error_Handler();
  }
  sBreakDeadTimeConfig.OffStateRunMode = TIM_OSSR_DISABLE;
  sBreakDeadTimeConfig.OffStateIDLEMode = TIM_OSSI_DISABLE;
  sBreakDeadTimeConfig.LockLevel = TIM_LOCKLEVEL_OFF;
  sBreakDeadTimeConfig.DeadTime = 0;
  sBreakDeadTimeConfig.BreakState = TIM_BREAK_DISABLE;
  sBreakDeadTimeConfig.BreakPolarity = TIM_BREAKPOLARITY_HIGH;
  sBreakDeadTimeConfig.BreakFilter = 0;
  sBreakDeadTimeConfig.Break2State = TIM_BREAK2_DISABLE;
  sBreakDeadTimeConfig.Break2Polarity = TIM_BREAK2POLARITY_HIGH;
  sBreakDeadTimeConfig.Break2Filter = 0;
  sBreakDeadTimeConfig.AutomaticOutput = TIM_AUTOMATICOUTPUT_DISABLE;
  if (HAL_TIMEx_ConfigBreakDeadTime(&htim8, &sBreakDeadTimeConfig) != HAL_OK)
  {
    Error_Handler();
  }
  HAL_TIM_MspPostInit(&htim8);

}

static void MX_TIM9_Init(void)
{

  TIM_ClockConfigTypeDef sClockSourceConfig = {0};

  htim9.Instance = TIM9;
  htim9.Init.Prescaler = 216-1;
  htim9.Init.CounterMode = TIM_COUNTERMODE_UP;
  htim9.Init.Period = 1000-1;
  htim9.Init.ClockDivision = TIM_CLOCKDIVISION_DIV1;
  htim9.Init.AutoReloadPreload = TIM_AUTORELOAD_PRELOAD_DISABLE;
  if (HAL_TIM_Base_Init(&htim9) != HAL_OK)
  {
    Error_Handler();
  }
  sClockSourceConfig.ClockSource = TIM_CLOCKSOURCE_INTERNAL;
  if (HAL_TIM_ConfigClockSource(&htim9, &sClockSourceConfig) != HAL_OK)
  {
    Error_Handler();
  }

}

static void MX_TIM10_Init(void)
{

  TIM_OC_InitTypeDef sConfigOC = {0};

  htim10.Instance = TIM10;
  htim10.Init.Prescaler = 4320-1;
  htim10.Init.CounterMode = TIM_COUNTERMODE_UP;
  htim10.Init.Period = 1000-1;
  htim10.Init.ClockDivision = TIM_CLOCKDIVISION_DIV1;
  htim10.Init.AutoReloadPreload = TIM_AUTORELOAD_PRELOAD_DISABLE;
  if (HAL_TIM_Base_Init(&htim10) != HAL_OK)
  {
    Error_Handler();
  }
  if (HAL_TIM_PWM_Init(&htim10) != HAL_OK)
  {
    Error_Handler();
  }
  sConfigOC.OCMode = TIM_OCMODE_PWM1;
  sConfigOC.Pulse = 0;
  sConfigOC.OCPolarity = TIM_OCPOLARITY_HIGH;
  sConfigOC.OCFastMode = TIM_OCFAST_DISABLE;
  if (HAL_TIM_PWM_ConfigChannel(&htim10, &sConfigOC, TIM_CHANNEL_1) != HAL_OK)
  {
    Error_Handler();
  }
  HAL_TIM_MspPostInit(&htim10);

}

static void MX_USART1_UART_Init(void)
{

  huart1.Instance = USART1;
  huart1.Init.BaudRate = 9600;
  huart1.Init.WordLength = UART_WORDLENGTH_8B;
  huart1.Init.StopBits = UART_STOPBITS_1;
  huart1.Init.Parity = UART_PARITY_NONE;
  huart1.Init.Mode = UART_MODE_TX_RX;
  huart1.Init.HwFlowCtl = UART_HWCONTROL_NONE;
  huart1.Init.OverSampling = UART_OVERSAMPLING_16;
  huart1.Init.OneBitSampling = UART_ONE_BIT_SAMPLE_DISABLE;
  huart1.AdvancedInit.AdvFeatureInit = UART_ADVFEATURE_NO_INIT;
  if (HAL_UART_Init(&huart1) != HAL_OK)
  {
    Error_Handler();
  }

}

static void MX_USART2_UART_Init(void)
{

  huart2.Instance = USART2;
  huart2.Init.BaudRate = 9600;
  huart2.Init.WordLength = UART_WORDLENGTH_8B;
  huart2.Init.StopBits = UART_STOPBITS_1;
  huart2.Init.Parity = UART_PARITY_NONE;
  huart2.Init.Mode = UART_MODE_TX_RX;
  huart2.Init.HwFlowCtl = UART_HWCONTROL_NONE;
  huart2.Init.OverSampling = UART_OVERSAMPLING_16;
  huart2.Init.OneBitSampling = UART_ONE_BIT_SAMPLE_DISABLE;
  huart2.AdvancedInit.AdvFeatureInit = UART_ADVFEATURE_RXINVERT_INIT;
  huart2.AdvancedInit.RxPinLevelInvert = UART_ADVFEATURE_RXINV_ENABLE;
  if (HAL_UART_Init(&huart2) != HAL_OK)
  {
    Error_Handler();
  }

}

static void MX_DMA_Init(void)
{

  /* DMA controller clock enable */
  __HAL_RCC_DMA2_CLK_ENABLE();
  __HAL_RCC_DMA1_CLK_ENABLE();

  /* DMA interrupt init */
  /* DMA1_Stream5_IRQn interrupt configuration */
  HAL_NVIC_SetPriority(DMA1_Stream5_IRQn, 0, 0);
  HAL_NVIC_EnableIRQ(DMA1_Stream5_IRQn);
  /* DMA2_Stream2_IRQn interrupt configuration */
  HAL_NVIC_SetPriority(DMA2_Stream2_IRQn, 0, 0);
  HAL_NVIC_EnableIRQ(DMA2_Stream2_IRQn);

}

static void MX_GPIO_Init(void)
{
  GPIO_InitTypeDef GPIO_InitStruct = {0};

  /* GPIO Ports Clock Enable */
  __HAL_RCC_GPIOF_CLK_ENABLE();
  __HAL_RCC_GPIOC_CLK_ENABLE();
  __HAL_RCC_GPIOA_CLK_ENABLE();
  __HAL_RCC_GPIOB_CLK_ENABLE();
  __HAL_RCC_GPIOG_CLK_ENABLE();
  __HAL_RCC_GPIOE_CLK_ENABLE();
  __HAL_RCC_GPIOD_CLK_ENABLE();

  /*Configure GPIO pin Output Level */
  HAL_GPIO_WritePin(GPIOC, enable_7_Pin|enable_6_Pin, GPIO_PIN_RESET);

  /*Configure GPIO pin Output Level */
  HAL_GPIO_WritePin(GPIOB, GPIO_PIN_0, GPIO_PIN_RESET);

  /*Configure GPIO pin Output Level */
  HAL_GPIO_WritePin(GPIOG, Enable_1_Pin|Enable_2_Pin|GPIO_PIN_6|GPIO_PIN_7, GPIO_PIN_RESET);

  /*Configure GPIO pin Output Level */
  HAL_GPIO_WritePin(GPIOE, Enable_4_Pin|Enable_3_5_Pin|LED_White_Pin|LED_Green_Pin
                          |LED_Red_Pin|LED_Yellow_Pin, GPIO_PIN_RESET);

  /*Configure GPIO pins : enable_7_Pin enable_6_Pin */
  GPIO_InitStruct.Pin = enable_7_Pin|enable_6_Pin;
  GPIO_InitStruct.Mode = GPIO_MODE_OUTPUT_PP;
  GPIO_InitStruct.Pull = GPIO_NOPULL;
  GPIO_InitStruct.Speed = GPIO_SPEED_FREQ_LOW;
  HAL_GPIO_Init(GPIOC, &GPIO_InitStruct);

  /*Configure GPIO pin : PA4 */
  GPIO_InitStruct.Pin = GPIO_PIN_4;
  GPIO_InitStruct.Mode = GPIO_MODE_IT_RISING_FALLING;
  GPIO_InitStruct.Pull = GPIO_NOPULL;
  HAL_GPIO_Init(GPIOA, &GPIO_InitStruct);

  /*Configure GPIO pin : PB0 */
  GPIO_InitStruct.Pin = GPIO_PIN_0;
  GPIO_InitStruct.Mode = GPIO_MODE_OUTPUT_PP;
  GPIO_InitStruct.Pull = GPIO_NOPULL;
  GPIO_InitStruct.Speed = GPIO_SPEED_FREQ_LOW;
  HAL_GPIO_Init(GPIOB, &GPIO_InitStruct);

  /*Configure GPIO pin : Botton_Black_Pin */
  GPIO_InitStruct.Pin = Botton_Black_Pin;
  GPIO_InitStruct.Mode = GPIO_MODE_IT_RISING_FALLING;
  GPIO_InitStruct.Pull = GPIO_NOPULL;
  HAL_GPIO_Init(Botton_Black_GPIO_Port, &GPIO_InitStruct);

  /*Configure GPIO pins : Botton_Red_Pin Botton_Blue_Pin PF13 PF14
                           PF15 */
  GPIO_InitStruct.Pin = Botton_Red_Pin|Botton_Blue_Pin|GPIO_PIN_13|GPIO_PIN_14
                          |GPIO_PIN_15;
  GPIO_InitStruct.Mode = GPIO_MODE_IT_RISING_FALLING;
  GPIO_InitStruct.Pull = GPIO_NOPULL;
  HAL_GPIO_Init(GPIOF, &GPIO_InitStruct);

  /*Configure GPIO pins : Enable_1_Pin Enable_2_Pin PG6 PG7 */
  GPIO_InitStruct.Pin = Enable_1_Pin|Enable_2_Pin|GPIO_PIN_6|GPIO_PIN_7;
  GPIO_InitStruct.Mode = GPIO_MODE_OUTPUT_PP;
  GPIO_InitStruct.Pull = GPIO_NOPULL;
  GPIO_InitStruct.Speed = GPIO_SPEED_FREQ_LOW;
  HAL_GPIO_Init(GPIOG, &GPIO_InitStruct);

  /*Configure GPIO pins : Enable_4_Pin Enable_3_5_Pin LED_White_Pin LED_Green_Pin
                           LED_Red_Pin LED_Yellow_Pin */
  GPIO_InitStruct.Pin = Enable_4_Pin|Enable_3_5_Pin|LED_White_Pin|LED_Green_Pin
                          |LED_Red_Pin|LED_Yellow_Pin;
  GPIO_InitStruct.Mode = GPIO_MODE_OUTPUT_PP;
  GPIO_InitStruct.Pull = GPIO_NOPULL;
  GPIO_InitStruct.Speed = GPIO_SPEED_FREQ_LOW;
  HAL_GPIO_Init(GPIOE, &GPIO_InitStruct);

  /*Configure GPIO pins : PD10 PD0 */
  GPIO_InitStruct.Pin = GPIO_PIN_10|GPIO_PIN_0;
  GPIO_InitStruct.Mode = GPIO_MODE_IT_RISING_FALLING;
  GPIO_InitStruct.Pull = GPIO_NOPULL;
  HAL_GPIO_Init(GPIOD, &GPIO_InitStruct);

  /*Configure GPIO pins : PG3 PG5 */
  GPIO_InitStruct.Pin = GPIO_PIN_3|GPIO_PIN_5;
  GPIO_InitStruct.Mode = GPIO_MODE_IT_RISING_FALLING;
  GPIO_InitStruct.Pull = GPIO_NOPULL;
  HAL_GPIO_Init(GPIOG, &GPIO_InitStruct);

  /* EXTI interrupt init*/
  HAL_NVIC_SetPriority(EXTI0_IRQn, 0, 0);
  HAL_NVIC_EnableIRQ(EXTI0_IRQn);

  HAL_NVIC_SetPriority(EXTI2_IRQn, 0, 0);
  HAL_NVIC_EnableIRQ(EXTI2_IRQn);

  HAL_NVIC_SetPriority(EXTI3_IRQn, 0, 0);
  HAL_NVIC_EnableIRQ(EXTI3_IRQn);

  HAL_NVIC_SetPriority(EXTI4_IRQn, 0, 0);
  HAL_NVIC_EnableIRQ(EXTI4_IRQn);

  HAL_NVIC_SetPriority(EXTI9_5_IRQn, 0, 0);
  HAL_NVIC_EnableIRQ(EXTI9_5_IRQn);

  HAL_NVIC_SetPriority(EXTI15_10_IRQn, 0, 0);
  HAL_NVIC_EnableIRQ(EXTI15_10_IRQn);

}

void Error_Handler(void)
{
}

/************************ (C) COPYRIGHT STMicroelectronics *****END OF FILE****/
